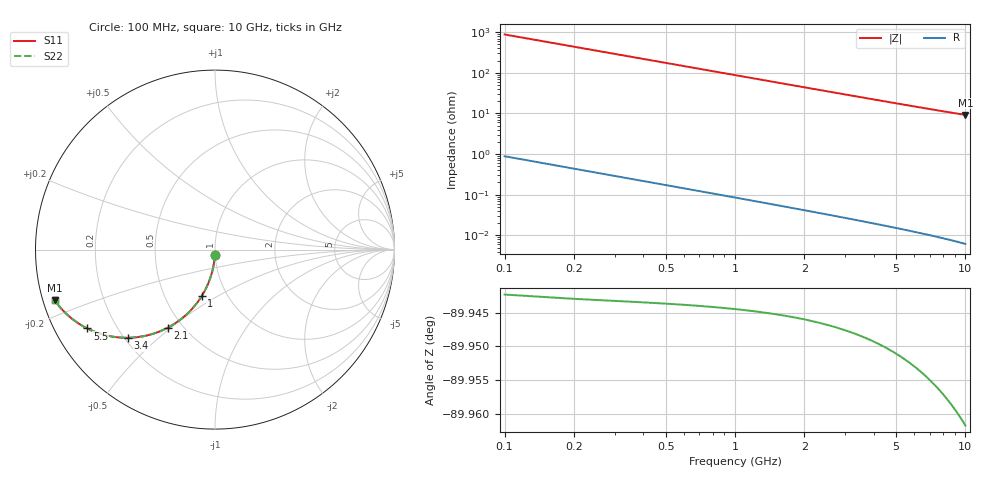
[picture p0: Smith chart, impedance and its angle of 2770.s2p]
# Hz S RI R 50.00
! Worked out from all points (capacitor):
!   100 points, 100 MHz to 10 GHz, reference 50 ohm
!   read as one part in shunt: C = 1.81 pF near 100 MHz
!   lowest |Z| = 9.22 ohm at 10 GHz (marker M1)
!   S11 on the Smith chart (normalised r, x): 100 MHz: 1.00, -0.06; 1 GHz: 0.76, -0.43; 2.1 GHz: 0.42, -0.49; 3.4 GHz: 0.21, -0.40; 5.5 GHz: 0.10, -0.28; 10 GHz: 0.03, -0.15
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1e8  -0.000714 -0.0282  0.999 -0.0286  0.999 -0.0286  -0.000714 -0.0282
2e8  -0.00315 -0.0562  0.9966 -0.0571  0.9966 -0.0571  -0.00315 -0.0562
3e8  -0.00717 -0.0839  0.9926 -0.0853  0.9926 -0.0853  -0.00717 -0.0839
4e8  -0.0127 -0.1112  0.987 -0.1131  0.987 -0.1131  -0.0127 -0.1112
5e8  -0.0198 -0.1381  0.98 -0.1404  0.98 -0.1404  -0.0198 -0.1381
6e8  -0.0283 -0.1642  0.9715 -0.167  0.9715 -0.167  -0.0283 -0.1642
7e8  -0.0381 -0.1896  0.9616 -0.1929  0.9616 -0.1929  -0.0381 -0.1896
8e8  -0.0492 -0.2142  0.9505 -0.2179  0.9505 -0.2179  -0.0492 -0.2142
1e9  -0.0748 -0.2605  0.9249 -0.2651  0.9249 -0.2651  -0.0748 -0.2605
1.2e9  -0.1043 -0.3025  0.8954 -0.3081  0.8954 -0.3081  -0.1043 -0.3025
1.4e9  -0.1368 -0.34  0.8629 -0.3466  0.8629 -0.3466  -0.1368 -0.34
1.8e9  -0.2076 -0.401  0.7921 -0.4094  0.7921 -0.4094  -0.2076 -0.401
2.1e9  -0.2629 -0.4349  0.7367 -0.4447  0.7367 -0.4447  -0.2629 -0.4349
2.7e9  -0.3711 -0.4763  0.6285 -0.489  0.6285 -0.489  -0.3711 -0.4763
3.4e9  -0.4837 -0.4912  0.5159 -0.5072  0.5159 -0.5072  -0.4837 -0.4912
4.2e9  -0.5889 -0.4816  0.4106 -0.5014  0.4106 -0.5014  -0.5889 -0.4816
5.1e9  -0.6793 -0.454  0.3201 -0.4782  0.3201 -0.4782  -0.6793 -0.454
5.5e9  -0.7116 -0.4393  0.2878 -0.4654  0.2878 -0.4654  -0.7116 -0.4393
6.7e9  -0.7863 -0.3931  0.2129 -0.4251  0.2129 -0.4251  -0.7863 -0.3931
7.5e9  -0.8223 -0.3633  0.1767 -0.3992  0.1767 -0.3992  -0.8223 -0.3633
8.4e9  -0.8537 -0.3321  0.1452 -0.3725  0.1452 -0.3725  -0.8537 -0.3321
1e10  -0.893 -0.2833  0.1055 -0.3319  0.1055 -0.3319  -0.893 -0.2833
